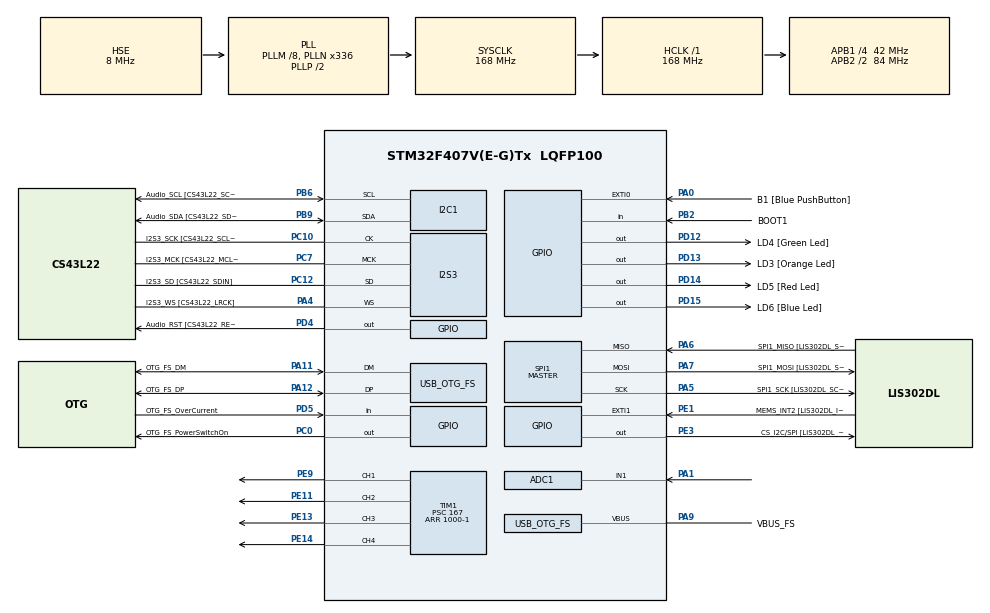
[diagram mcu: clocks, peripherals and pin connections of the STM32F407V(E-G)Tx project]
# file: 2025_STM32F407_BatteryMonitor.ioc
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ADC1.Channel-0\#ChannelRegularConversion=ADC_CHANNEL_1
ADC1.ContinuousConvMode=ENABLE
ADC1.NbrOfConversionFlag=1
ADC1.Rank-0\#ChannelRegularConversion=1
ADC1.SamplingTime-0\#ChannelRegularConversion=ADC_SAMPLETIME_480CYCLES
ADC1.master=1
I2S3.AudioFreq-Half_Duplex_Master=I2S_AUDIOFREQ_96K
I2S3.ErrorAudioFreq=-2.34 %
I2S3.ErrorAudioFreq-Half_Duplex_Master=0.8 %
I2S3.FullDuplexMode=I2S_FULLDUPLEXMODE_DISABLE
I2S3.Instance=SPI$Index
I2S3.RealAudioFreq=93.75 KHz
I2S3.RealAudioFreq-Half_Duplex_Master=96.774 KHz
I2S3.VirtualMode=I2S_MODE_MASTER
Mcu.Family=STM32F4
Mcu.Name=STM32F407V(E-G)Tx
Mcu.Package=LQFP100
NVIC.ADC_IRQn=true\:0\:0\:false\:false\:true\:true\:true\:true
NVIC.OTG_FS_IRQn=true\:0\:0\:false\:false\:true\:true\:true\:true
NVIC.PriorityGroup=NVIC_PRIORITYGROUP_0
PA0-WKUP.GPIO_Label=B1 [Blue PushButton]
PA0-WKUP.GPIO_ModeDefaultEXTI=GPIO_MODE_EVT_RISING
PA0-WKUP.GPIO_PuPd=GPIO_NOPULL
PA0-WKUP.Signal=GPXTI0
PA1.Signal=ADCx_IN1
PA10.GPIO_Label=OTG_FS_ID
PA10.GPIO_Mode=GPIO_MODE_AF_PP
PA10.GPIO_PuPd=GPIO_NOPULL
PA10.GPIO_Speed=GPIO_SPEED_FREQ_LOW
PA10.Signal=USB_OTG_FS_ID
PA11.GPIO_Label=OTG_FS_DM
PA11.GPIO_Mode=GPIO_MODE_AF_PP
PA11.GPIO_PuPd=GPIO_NOPULL
PA11.GPIO_Speed=GPIO_SPEED_FREQ_LOW
PA11.Mode=Host_Only
PA11.Signal=USB_OTG_FS_DM
PA12.GPIO_Label=OTG_FS_DP
PA12.GPIO_Mode=GPIO_MODE_AF_PP
PA12.GPIO_PuPd=GPIO_NOPULL
PA12.GPIO_Speed=GPIO_SPEED_FREQ_LOW
PA12.Mode=Host_Only
PA12.Signal=USB_OTG_FS_DP
PA13.GPIO_Label=SWDIO
PA13.Mode=Serial_Wire
PA13.Signal=SYS_JTMS-SWDIO
PA14.GPIO_Label=SWCLK
PA14.Mode=Serial_Wire
PA14.Signal=SYS_JTCK-SWCLK
PA4.GPIO_Label=I2S3_WS [CS43L22_LRCK]
PA4.GPIO_Mode=GPIO_MODE_AF_PP
PA4.GPIO_PuPd=GPIO_NOPULL
PA4.GPIO_Speed=GPIO_SPEED_FREQ_LOW
PA4.Mode=Half_Duplex_Master
PA4.Signal=I2S3_WS
PA5.GPIO_Label=SPI1_SCK [LIS302DL_SCL/SPC]
PA5.GPIO_Mode=GPIO_MODE_AF_PP
PA5.GPIO_PuPd=GPIO_NOPULL
PA5.GPIO_Speed=GPIO_SPEED_FREQ_LOW
PA5.Mode=Full_Duplex_Master
PA5.Signal=SPI1_SCK
PA6.GPIO_Label=SPI1_MISO [LIS302DL_SDO]
PA6.GPIO_Mode=GPIO_MODE_AF_PP
PA6.GPIO_PuPd=GPIO_NOPULL
PA6.GPIO_Speed=GPIO_SPEED_FREQ_LOW
PA6.Mode=Full_Duplex_Master
PA6.Signal=SPI1_MISO
PA7.GPIO_Label=SPI1_MOSI [LIS302DL_SDA/SDI/SDO]
PA7.GPIO_Mode=GPIO_MODE_AF_PP
PA7.GPIO_PuPd=GPIO_NOPULL
PA7.GPIO_Speed=GPIO_SPEED_FREQ_LOW
PA7.Mode=Full_Duplex_Master
PA7.Signal=SPI1_MOSI
PA9.GPIO_Label=VBUS_FS
PA9.GPIO_Mode=GPIO_MODE_INPUT
PA9.GPIO_PuPd=GPIO_NOPULL
PA9.Mode=Activate_VBUS
PA9.Signal=USB_OTG_FS_VBUS
PB10.GPIO_Label=CLK_IN [MP45DT02_CLK]
PB10.GPIO_Mode=GPIO_MODE_AF_PP
PB10.GPIO_PuPd=GPIO_NOPULL
PB10.GPIO_Speed=GPIO_SPEED_FREQ_LOW
PB10.Signal=I2S2_CK
PB2.GPIO_Label=BOOT1
PB2.GPIO_Mode=GPIO_MODE_INPUT
PB2.GPIO_PuPd=GPIO_NOPULL
PB2.Signal=GPIO_Input
PB3.GPIO_Label=SWO
PB3.Signal=SYS_JTDO-SWO
PB6.GPIO_Label=Audio_SCL [CS43L22_SCL]
PB6.GPIO_Mode=GPIO_MODE_AF_OD
PB6.GPIO_Pu=GPIO_PULLUP
PB6.GPIO_PuPd=GPIO_NOPULL
PB6.GPIO_Speed=GPIO_SPEED_FREQ_LOW
PB6.Mode=I2C
PB6.Signal=I2C1_SCL
PB9.GPIO_Label=Audio_SDA [CS43L22_SDA]
PB9.GPIO_Mode=GPIO_MODE_AF_OD
PB9.GPIO_Pu=GPIO_PULLUP
PB9.GPIO_PuPd=GPIO_NOPULL
PB9.GPIO_Speed=GPIO_SPEED_FREQ_LOW
PB9.Mode=I2C
PB9.Signal=I2C1_SDA
PC0.GPIO_Label=OTG_FS_PowerSwitchOn
PC0.GPIO_PuPd=GPIO_NOPULL
PC0.GPIO_Speed=GPIO_SPEED_FREQ_LOW
PC0.PinState=GPIO_PIN_SET
PC0.Signal=GPIO_Output
PC10.GPIO_Label=I2S3_SCK [CS43L22_SCLK]
PC10.GPIO_Mode=GPIO_MODE_AF_PP
PC10.GPIO_PuPd=GPIO_NOPULL
PC10.GPIO_Speed=GPIO_SPEED_FREQ_LOW
PC10.Mode=Half_Duplex_Master
PC10.Signal=I2S3_CK
PC12.GPIO_Label=I2S3_SD [CS43L22_SDIN]
PC12.GPIO_Mode=GPIO_MODE_AF_PP
PC12.GPIO_PuPd=GPIO_NOPULL
PC12.GPIO_Speed=GPIO_SPEED_FREQ_LOW
PC12.Mode=Half_Duplex_Master
PC12.Signal=I2S3_SD
PC14-OSC32_IN.GPIO_Label=PC14-OSC32_IN
PC14-OSC32_IN.Mode=LSE-External-Oscillator
PC14-OSC32_IN.Signal=RCC_OSC32_IN
PC15-OSC32_OUT.GPIO_Label=PC15-OSC32_OUT
PC15-OSC32_OUT.Mode=LSE-External-Oscillator
PC15-OSC32_OUT.Signal=RCC_OSC32_OUT
PC3.GPIO_Label=PDM_OUT [MP45DT02_DOUT]
PC3.GPIO_Mode=GPIO_MODE_AF_PP
PC3.GPIO_PuPd=GPIO_NOPULL
PC3.GPIO_Speed=GPIO_SPEED_FREQ_LOW
PC3.Signal=I2S2_SD
PC7.GPIO_Label=I2S3_MCK [CS43L22_MCLK]
PC7.GPIO_Mode=GPIO_MODE_AF_PP
PC7.GPIO_PuPd=GPIO_NOPULL
PC7.GPIO_Speed=GPIO_SPEED_FREQ_LOW
PC7.Mode=Master_Clock_Activated
PC7.Signal=I2S3_MCK
PD12.GPIO_Label=LD4 [Green Led]
PD12.GPIO_PuPd=GPIO_NOPULL
PD12.GPIO_Speed=GPIO_SPEED_FREQ_LOW
PD12.Signal=GPIO_Output
PD13.GPIO_Label=LD3 [Orange Led]
PD13.GPIO_PuPd=GPIO_NOPULL
PD13.GPIO_Speed=GPIO_SPEED_FREQ_LOW
PD13.Signal=GPIO_Output
PD14.GPIO_Label=LD5 [Red Led]
PD14.GPIO_PuPd=GPIO_NOPULL
PD14.GPIO_Speed=GPIO_SPEED_FREQ_LOW
PD14.Signal=GPIO_Output
PD15.GPIO_Label=LD6 [Blue Led]
PD15.GPIO_PuPd=GPIO_NOPULL
PD15.GPIO_Speed=GPIO_SPEED_FREQ_LOW
PD15.Signal=GPIO_Output
PD4.GPIO_Label=Audio_RST [CS43L22_RESET]
PD4.GPIO_PuPd=GPIO_NOPULL
PD4.GPIO_Speed=GPIO_SPEED_FREQ_LOW
PD4.Signal=GPIO_Output
PD5.GPIO_Label=OTG_FS_OverCurrent
PD5.GPIO_Mode=GPIO_MODE_INPUT
PD5.GPIO_PuPd=GPIO_NOPULL
PD5.Signal=GPIO_Input
PE1.GPIO_Label=MEMS_INT2 [LIS302DL_INT2]
PE1.GPIO_ModeDefaultEXTI=GPIO_MODE_EVT_RISING
PE1.GPIO_PuPd=GPIO_NOPULL
PE1.Signal=GPXTI1
PE11.Signal=S_TIM1_CH2
PE13.Signal=S_TIM1_CH3
PE14.Signal=S_TIM1_CH4
PE3.GPIO_Label=CS_I2C/SPI [LIS302DL_CS_I2C/SPI]
PE3.GPIO_PuPd=GPIO_NOPULL
PE3.GPIO_Speed=GPIO_SPEED_FREQ_LOW
PE3.Signal=GPIO_Output
PE9.Signal=S_TIM1_CH1
PH0-OSC_IN.GPIO_Label=PH0-OSC_IN
PH0-OSC_IN.Mode=HSE-External-Oscillator
PH0-OSC_IN.Signal=RCC_OSC_IN
PH1-OSC_OUT.GPIO_Label=PH1-OSC_OUT
PH1-OSC_OUT.Mode=HSE-External-Oscillator
PH1-OSC_OUT.Signal=RCC_OSC_OUT
ProjectManager.HeapSize=0x200
ProjectManager.StackSize=0x400
ProjectManager.TargetToolchain=STM32CubeIDE
RCC.48MHZClocksFreq_Value=48000000
RCC.AHBFreq_Value=168000000
RCC.APB1CLKDivider=RCC_HCLK_DIV4
RCC.APB1Freq_Value=42000000
RCC.APB1TimFreq_Value=84000000
RCC.APB2CLKDivider=RCC_HCLK_DIV2
RCC.APB2Freq_Value=84000000
RCC.APB2TimFreq_Value=168000000
RCC.CortexFreq_Value=168000000
RCC.HCLKFreq_Value=168000000
RCC.HSE_VALUE=8000000
RCC.HSI_VALUE=16000000
RCC.PLLM=8
RCC.PLLN=336
RCC.PLLQ=7
RCC.SYSCLKFreq_VALUE=168000000
RCC.SYSCLKSource=RCC_SYSCLKSOURCE_PLLCLK
RCC.VCOOutputFreq_Value=336000000
SH.ADCx_IN1.0=ADC1_IN1,IN1
SH.S_TIM1_CH1.0=TIM1_CH1,PWM Generation1 CH1
SH.S_TIM1_CH2.0=TIM1_CH2,PWM Generation2 CH2
SH.S_TIM1_CH3.0=TIM1_CH3,PWM Generation3 CH3
SH.S_TIM1_CH4.0=TIM1_CH4,PWM Generation4 CH4
SPI1.BaudRatePrescaler-Full_Duplex_Master=SPI_BAUDRATEPRESCALER_2
SPI1.CalculateBaudRate-Full_Duplex_Master=42.0 MBits/s
SPI1.Direction=SPI_DIRECTION_2LINES
SPI1.Mode=SPI_MODE_MASTER
SPI1.Mode-Full_Duplex_Master=SPI_MODE_MASTER
SPI1.VirtualType=VM_MASTER
TIM1.Channel-PWM\ Generation1\ CH1=TIM_CHANNEL_1
TIM1.Channel-PWM\ Generation2\ CH2=TIM_CHANNEL_2
TIM1.Channel-PWM\ Generation3\ CH3=TIM_CHANNEL_3
TIM1.Channel-PWM\ Generation4\ CH4=TIM_CHANNEL_4
TIM1.Period=1000-1
TIM1.Prescaler=167
USB_HOST.BSP.number=1
USB_HOST.USBH_HandleTypeDef-CDC_FS=hUsbHostFS
USB_HOST.VirtualModeFS=Cdc
USB_HOST0.BSP.STBoard=false
USB_HOST0.BSP.api=Unknown
USB_HOST0.BSP.instance=PC0
USB_HOST0.BSP.ip=GPIO
USB_HOST0.BSP.mode=Output
USB_HOST0.BSP.name=Drive_VBUS_FS
USB_HOST0.BSP.solution=PC0
USB_OTG_FS.VirtualMode=Host_Only
USB_OTG_FS.phy_itface=HCD_PHY_EMBEDDED
VP_USB_HOST_VS_USB_HOST_CDC_FS.Mode=CDC_FS
board=STM32F407G-DISC1

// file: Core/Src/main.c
/* USER CODE BEGIN Header */
/**
  ******************************************************************************
  * @file           : main.c
  * @brief          : Main program body
  ******************************************************************************
  * @attention
  *
  * Copyright (c) 2025 STMicroelectronics.
  * All rights reserved.
  *
  * This software is licensed under terms that can be found in the LICENSE file
  * in the root directory of this software component.
  * If no LICENSE file comes with this software, it is provided AS-IS.
  *
  ******************************************************************************
  */
/* USER CODE END Header */
#include "main.h"
#include "usb_host.h"

/* USER CODE BEGIN PD */

#define MOTOR_ON_THRESH 2172 //ADC value for on
#define MOTOR_OFF_THRESH 2016 //ADC value for off

/* USER CODE END PD */

ADC_HandleTypeDef hadc1;

I2C_HandleTypeDef hi2c1;

I2S_HandleTypeDef hi2s3;

SPI_HandleTypeDef hspi1;

TIM_HandleTypeDef htim1;

/* USER CODE BEGIN PV */

uint16_t gADC_Value = 0;
volatile uint8_t buttonCount = 1;

/* USER CODE END PV */

void SystemClock_Config(void);
static void MX_GPIO_Init(void);
static void MX_I2C1_Init(void);
static void MX_I2S3_Init(void);
static void MX_SPI1_Init(void);
static void MX_ADC1_Init(void);
static void MX_TIM1_Init(void);
void MX_USB_HOST_Process(void);

int main(void)
{

  /* MCU Configuration--------------------------------------------------------*/

  /* Reset of all peripherals, Initializes the Flash interface and the Systick. */
  HAL_Init();

  /* Configure the system clock */
  SystemClock_Config();

  /* Initialize all configured peripherals */
  MX_GPIO_Init();
  MX_I2C1_Init();
  MX_I2S3_Init();
  MX_SPI1_Init();
  MX_USB_HOST_Init();
  MX_ADC1_Init();
  MX_TIM1_Init();
  /* USER CODE BEGIN 2 */
  //start interrupt for the ADC
  HAL_ADC_Start_IT(&hadc1);

  //Start PWM generation on timers
  HAL_TIM_PWM_Start(&htim1, TIM_CHANNEL_1); //AN1
  HAL_TIM_PWM_Start(&htim1, TIM_CHANNEL_2); //AN2
  HAL_TIM_PWM_Start(&htim1, TIM_CHANNEL_3); //BN1
  HAL_TIM_PWM_Start(&htim1, TIM_CHANNEL_4); //BN2

  /* USER CODE END 2 */

  /* Infinite loop */
  /* USER CODE BEGIN WHILE */
  while (1)
  {
	  if (gADC_Value > MOTOR_ON_THRESH){
		  //motor on
		  switch(buttonCount){
		  case 1: // motors stopped
			  setPWM(0);
		  case 2: //motors rotate CCW
			  setPWM(1);
		  case 3: //motors rotate CW
			  setPWM(-1);
		  }
	  }
	  else if(gADC_Value < MOTOR_OFF_THRESH){
		  // motor off
		  set_PWM(0);
	  }
	  else{
		  //random spinning with no response to button
		  set_PWM(1);
	  }
    /* USER CODE END WHILE */
    MX_USB_HOST_Process();

  }
}

void SystemClock_Config(void)
{
  RCC_OscInitTypeDef RCC_OscInitStruct = {0};
  RCC_ClkInitTypeDef RCC_ClkInitStruct = {0};

  /** Configure the main internal regulator output voltage
  */
  __HAL_RCC_PWR_CLK_ENABLE();
  __HAL_PWR_VOLTAGESCALING_CONFIG(PWR_REGULATOR_VOLTAGE_SCALE1);

  /** Initializes the RCC Oscillators according to the specified parameters
  * in the RCC_OscInitTypeDef structure.
  */
  RCC_OscInitStruct.OscillatorType = RCC_OSCILLATORTYPE_HSE;
  RCC_OscInitStruct.HSEState = RCC_HSE_ON;
  RCC_OscInitStruct.PLL.PLLState = RCC_PLL_ON;
  RCC_OscInitStruct.PLL.PLLSource = RCC_PLLSOURCE_HSE;
  RCC_OscInitStruct.PLL.PLLM = 8;
  RCC_OscInitStruct.PLL.PLLN = 336;
  RCC_OscInitStruct.PLL.PLLP = RCC_PLLP_DIV2;
  RCC_OscInitStruct.PLL.PLLQ = 7;
  if (HAL_RCC_OscConfig(&RCC_OscInitStruct) != HAL_OK)
  {
    Error_Handler();
  }

  /** Initializes the CPU, AHB and APB buses clocks
  */
  RCC_ClkInitStruct.ClockType = RCC_CLOCKTYPE_HCLK|RCC_CLOCKTYPE_SYSCLK
                              |RCC_CLOCKTYPE_PCLK1|RCC_CLOCKTYPE_PCLK2;
  RCC_ClkInitStruct.SYSCLKSource = RCC_SYSCLKSOURCE_PLLCLK;
  RCC_ClkInitStruct.AHBCLKDivider = RCC_SYSCLK_DIV1;
  RCC_ClkInitStruct.APB1CLKDivider = RCC_HCLK_DIV4;
  RCC_ClkInitStruct.APB2CLKDivider = RCC_HCLK_DIV2;

  if (HAL_RCC_ClockConfig(&RCC_ClkInitStruct, FLASH_LATENCY_5) != HAL_OK)
  {
    Error_Handler();
  }
}

static void MX_ADC1_Init(void)
{

  ADC_ChannelConfTypeDef sConfig = {0};

  /** Configure the global features of the ADC (Clock, Resolution, Data Alignment and number of conversion)
  */
  hadc1.Instance = ADC1;
  hadc1.Init.ClockPrescaler = ADC_CLOCK_SYNC_PCLK_DIV4;
  hadc1.Init.Resolution = ADC_RESOLUTION_12B;
  hadc1.Init.ScanConvMode = DISABLE;
  hadc1.Init.ContinuousConvMode = ENABLE;
  hadc1.Init.DiscontinuousConvMode = DISABLE;
  hadc1.Init.ExternalTrigConvEdge = ADC_EXTERNALTRIGCONVEDGE_NONE;
  hadc1.Init.ExternalTrigConv = ADC_SOFTWARE_START;
  hadc1.Init.DataAlign = ADC_DATAALIGN_RIGHT;
  hadc1.Init.NbrOfConversion = 1;
  hadc1.Init.DMAContinuousRequests = DISABLE;
  hadc1.Init.EOCSelection = ADC_EOC_SINGLE_CONV;
  if (HAL_ADC_Init(&hadc1) != HAL_OK)
  {
    Error_Handler();
  }

  /** Configure for the selected ADC regular channel its corresponding rank in the sequencer and its sample time.
  */
  sConfig.Channel = ADC_CHANNEL_1;
  sConfig.Rank = 1;
  sConfig.SamplingTime = ADC_SAMPLETIME_480CYCLES;
  if (HAL_ADC_ConfigChannel(&hadc1, &sConfig) != HAL_OK)
  {
    Error_Handler();
  }

}

static void MX_I2C1_Init(void)
{

  hi2c1.Instance = I2C1;
  hi2c1.Init.ClockSpeed = 100000;
  hi2c1.Init.DutyCycle = I2C_DUTYCYCLE_2;
  hi2c1.Init.OwnAddress1 = 0;
  hi2c1.Init.AddressingMode = I2C_ADDRESSINGMODE_7BIT;
  hi2c1.Init.DualAddressMode = I2C_DUALADDRESS_DISABLE;
  hi2c1.Init.OwnAddress2 = 0;
  hi2c1.Init.GeneralCallMode = I2C_GENERALCALL_DISABLE;
  hi2c1.Init.NoStretchMode = I2C_NOSTRETCH_DISABLE;
  if (HAL_I2C_Init(&hi2c1) != HAL_OK)
  {
    Error_Handler();
  }

}

static void MX_I2S3_Init(void)
{

  hi2s3.Instance = SPI3;
  hi2s3.Init.Mode = I2S_MODE_MASTER_TX;
  hi2s3.Init.Standard = I2S_STANDARD_PHILIPS;
  hi2s3.Init.DataFormat = I2S_DATAFORMAT_16B;
  hi2s3.Init.MCLKOutput = I2S_MCLKOUTPUT_ENABLE;
  hi2s3.Init.AudioFreq = I2S_AUDIOFREQ_96K;
  hi2s3.Init.CPOL = I2S_CPOL_LOW;
  hi2s3.Init.ClockSource = I2S_CLOCK_PLL;
  hi2s3.Init.FullDuplexMode = I2S_FULLDUPLEXMODE_DISABLE;
  if (HAL_I2S_Init(&hi2s3) != HAL_OK)
  {
    Error_Handler();
  }

}

static void MX_SPI1_Init(void)
{

  /* SPI1 parameter configuration*/
  hspi1.Instance = SPI1;
  hspi1.Init.Mode = SPI_MODE_MASTER;
  hspi1.Init.Direction = SPI_DIRECTION_2LINES;
  hspi1.Init.DataSize = SPI_DATASIZE_8BIT;
  hspi1.Init.CLKPolarity = SPI_POLARITY_LOW;
  hspi1.Init.CLKPhase = SPI_PHASE_1EDGE;
  hspi1.Init.NSS = SPI_NSS_SOFT;
  hspi1.Init.BaudRatePrescaler = SPI_BAUDRATEPRESCALER_2;
  hspi1.Init.FirstBit = SPI_FIRSTBIT_MSB;
  hspi1.Init.TIMode = SPI_TIMODE_DISABLE;
  hspi1.Init.CRCCalculation = SPI_CRCCALCULATION_DISABLE;
  hspi1.Init.CRCPolynomial = 10;
  if (HAL_SPI_Init(&hspi1) != HAL_OK)
  {
    Error_Handler();
  }

}

static void MX_TIM1_Init(void)
{

  TIM_MasterConfigTypeDef sMasterConfig = {0};
  TIM_OC_InitTypeDef sConfigOC = {0};
  TIM_BreakDeadTimeConfigTypeDef sBreakDeadTimeConfig = {0};

  htim1.Instance = TIM1;
  htim1.Init.Prescaler = 167;
  htim1.Init.CounterMode = TIM_COUNTERMODE_UP;
  htim1.Init.Period = 1000-1;
  htim1.Init.ClockDivision = TIM_CLOCKDIVISION_DIV1;
  htim1.Init.RepetitionCounter = 0;
  htim1.Init.AutoReloadPreload = TIM_AUTORELOAD_PRELOAD_DISABLE;
  if (HAL_TIM_PWM_Init(&htim1) != HAL_OK)
  {
    Error_Handler();
  }
  sMasterConfig.MasterOutputTrigger = TIM_TRGO_RESET;
  sMasterConfig.MasterSlaveMode = TIM_MASTERSLAVEMODE_DISABLE;
  if (HAL_TIMEx_MasterConfigSynchronization(&htim1, &sMasterConfig) != HAL_OK)
  {
    Error_Handler();
  }
  sConfigOC.OCMode = TIM_OCMODE_PWM1;
  sConfigOC.Pulse = 0;
  sConfigOC.OCPolarity = TIM_OCPOLARITY_HIGH;
  sConfigOC.OCNPolarity = TIM_OCNPOLARITY_HIGH;
  sConfigOC.OCFastMode = TIM_OCFAST_DISABLE;
  sConfigOC.OCIdleState = TIM_OCIDLESTATE_RESET;
  sConfigOC.OCNIdleState = TIM_OCNIDLESTATE_RESET;
  if (HAL_TIM_PWM_ConfigChannel(&htim1, &sConfigOC, TIM_CHANNEL_1) != HAL_OK)
  {
    Error_Handler();
  }
  if (HAL_TIM_PWM_ConfigChannel(&htim1, &sConfigOC, TIM_CHANNEL_2) != HAL_OK)
  {
    Error_Handler();
  }
  if (HAL_TIM_PWM_ConfigChannel(&htim1, &sConfigOC, TIM_CHANNEL_3) != HAL_OK)
  {
    Error_Handler();
  }
  if (HAL_TIM_PWM_ConfigChannel(&htim1, &sConfigOC, TIM_CHANNEL_4) != HAL_OK)
  {
    Error_Handler();
  }
  sBreakDeadTimeConfig.OffStateRunMode = TIM_OSSR_DISABLE;
  sBreakDeadTimeConfig.OffStateIDLEMode = TIM_OSSI_DISABLE;
  sBreakDeadTimeConfig.LockLevel = TIM_LOCKLEVEL_OFF;
  sBreakDeadTimeConfig.DeadTime = 0;
  sBreakDeadTimeConfig.BreakState = TIM_BREAK_DISABLE;
  sBreakDeadTimeConfig.BreakPolarity = TIM_BREAKPOLARITY_HIGH;
  sBreakDeadTimeConfig.AutomaticOutput = TIM_AUTOMATICOUTPUT_DISABLE;
  if (HAL_TIMEx_ConfigBreakDeadTime(&htim1, &sBreakDeadTimeConfig) != HAL_OK)
  {
    Error_Handler();
  }
  HAL_TIM_MspPostInit(&htim1);

}

static void MX_GPIO_Init(void)
{
  GPIO_InitTypeDef GPIO_InitStruct = {0};

  /* GPIO Ports Clock Enable */
  __HAL_RCC_GPIOE_CLK_ENABLE();
  __HAL_RCC_GPIOC_CLK_ENABLE();
  __HAL_RCC_GPIOH_CLK_ENABLE();
  __HAL_RCC_GPIOA_CLK_ENABLE();
  __HAL_RCC_GPIOB_CLK_ENABLE();
  __HAL_RCC_GPIOD_CLK_ENABLE();

  /*Configure GPIO pin Output Level */
  HAL_GPIO_WritePin(CS_I2C_SPI_GPIO_Port, CS_I2C_SPI_Pin, GPIO_PIN_RESET);

  /*Configure GPIO pin Output Level */
  HAL_GPIO_WritePin(OTG_FS_PowerSwitchOn_GPIO_Port, OTG_FS_PowerSwitchOn_Pin, GPIO_PIN_SET);

  /*Configure GPIO pin Output Level */
  HAL_GPIO_WritePin(GPIOD, LD4_Pin|LD3_Pin|LD5_Pin|LD6_Pin
                          |Audio_RST_Pin, GPIO_PIN_RESET);

  /*Configure GPIO pin : CS_I2C_SPI_Pin */
  GPIO_InitStruct.Pin = CS_I2C_SPI_Pin;
  GPIO_InitStruct.Mode = GPIO_MODE_OUTPUT_PP;
  GPIO_InitStruct.Pull = GPIO_NOPULL;
  GPIO_InitStruct.Speed = GPIO_SPEED_FREQ_LOW;
  HAL_GPIO_Init(CS_I2C_SPI_GPIO_Port, &GPIO_InitStruct);

  /*Configure GPIO pin : OTG_FS_PowerSwitchOn_Pin */
  GPIO_InitStruct.Pin = OTG_FS_PowerSwitchOn_Pin;
  GPIO_InitStruct.Mode = GPIO_MODE_OUTPUT_PP;
  GPIO_InitStruct.Pull = GPIO_NOPULL;
  GPIO_InitStruct.Speed = GPIO_SPEED_FREQ_LOW;
  HAL_GPIO_Init(OTG_FS_PowerSwitchOn_GPIO_Port, &GPIO_InitStruct);

  /*Configure GPIO pin : PDM_OUT_Pin */
  GPIO_InitStruct.Pin = PDM_OUT_Pin;
  GPIO_InitStruct.Mode = GPIO_MODE_AF_PP;
  GPIO_InitStruct.Pull = GPIO_NOPULL;
  GPIO_InitStruct.Speed = GPIO_SPEED_FREQ_LOW;
  GPIO_InitStruct.Alternate = GPIO_AF5_SPI2;
  HAL_GPIO_Init(PDM_OUT_GPIO_Port, &GPIO_InitStruct);

  /*Configure GPIO pin : B1_Pin */
  GPIO_InitStruct.Pin = B1_Pin;
  GPIO_InitStruct.Mode = GPIO_MODE_EVT_RISING;
  GPIO_InitStruct.Pull = GPIO_NOPULL;
  HAL_GPIO_Init(B1_GPIO_Port, &GPIO_InitStruct);

  /*Configure GPIO pin : BOOT1_Pin */
  GPIO_InitStruct.Pin = BOOT1_Pin;
  GPIO_InitStruct.Mode = GPIO_MODE_INPUT;
  GPIO_InitStruct.Pull = GPIO_NOPULL;
  HAL_GPIO_Init(BOOT1_GPIO_Port, &GPIO_InitStruct);

  /*Configure GPIO pin : CLK_IN_Pin */
  GPIO_InitStruct.Pin = CLK_IN_Pin;
  GPIO_InitStruct.Mode = GPIO_MODE_AF_PP;
  GPIO_InitStruct.Pull = GPIO_NOPULL;
  GPIO_InitStruct.Speed = GPIO_SPEED_FREQ_LOW;
  GPIO_InitStruct.Alternate = GPIO_AF5_SPI2;
  HAL_GPIO_Init(CLK_IN_GPIO_Port, &GPIO_InitStruct);

  /*Configure GPIO pins : LD4_Pin LD3_Pin LD5_Pin LD6_Pin
                           Audio_RST_Pin */
  GPIO_InitStruct.Pin = LD4_Pin|LD3_Pin|LD5_Pin|LD6_Pin
                          |Audio_RST_Pin;
  GPIO_InitStruct.Mode = GPIO_MODE_OUTPUT_PP;
  GPIO_InitStruct.Pull = GPIO_NOPULL;
  GPIO_InitStruct.Speed = GPIO_SPEED_FREQ_LOW;
  HAL_GPIO_Init(GPIOD, &GPIO_InitStruct);

  /*Configure GPIO pin : OTG_FS_OverCurrent_Pin */
  GPIO_InitStruct.Pin = OTG_FS_OverCurrent_Pin;
  GPIO_InitStruct.Mode = GPIO_MODE_INPUT;
  GPIO_InitStruct.Pull = GPIO_NOPULL;
  HAL_GPIO_Init(OTG_FS_OverCurrent_GPIO_Port, &GPIO_InitStruct);

  /*Configure GPIO pin : MEMS_INT2_Pin */
  GPIO_InitStruct.Pin = MEMS_INT2_Pin;
  GPIO_InitStruct.Mode = GPIO_MODE_EVT_RISING;
  GPIO_InitStruct.Pull = GPIO_NOPULL;
  HAL_GPIO_Init(MEMS_INT2_GPIO_Port, &GPIO_InitStruct);

}

/* USER CODE BEGIN 4 */

void HAL_ADC_ConvCpltCallback(ADC_HandleTypeDef *hadc){
	gADC_Value = HAL_ADC_GetValue(hadc);
}

void HAL_GPIO_EXTI_Callback(uint16_t GPIO_Pin){
	if (HAL_GPIO_ReadPin(GPIOA,GPIO_Pin_0)){
		buttonCount++;
		if(buttonCount == 4){
			buttonCount = 1;
		}
	}
}

void set_PWM(int PWM){
	//normalize the values between 0 and 100
	if (pwm > 100){
		pwm = 100;
	}
	if (pmw < 0){
		pwm = -100;
	}

	if(pwm > 0){ //Counter Clockwise rotation condition
		__HAL_TIM_SET_COMPARE(&htim1, TIM_CHANNEL_1, 100); //Initialize A
		__HAL_TIM_SET_COMPARE(&htim1, TIM_CHANNEL_2, 100-pwm); //send PWM to A
		__HAL_TIM_SET_COMPARE(&htim1, TIM_CHANNEL_3, 100); //Initialize B
		__HAL_TIM_SET_COMPARE(&htim1, TIM_CHANNEL_4, 100-pwm); //send PWM to B
	}
	else if (pwm <0) { //Clockwise rotation condition
		__HAL_TIM_SET_COMPARE(&htim1, TIM_CHANNEL_1, 100); //Initialize A
		__HAL_TIM_SET_COMPARE(&htim1, TIM_CHANNEL_2, 100+pwm); //send PWM to A
		__HAL_TIM_SET_COMPARE(&htim1, TIM_CHANNEL_3, 100); //Initialize B
		__HAL_TIM_SET_COMPARE(&htim1, TIM_CHANNEL_4, 100+pwm); //send PWM to B
	}
	else { //Turn off the motors (0)
		__HAL_TIM_SET_COMPARE(&htim1, TIM_CHANNEL_1, 0); //set everything to 0
		__HAL_TIM_SET_COMPARE(&htim1, TIM_CHANNEL_2, 0);
		__HAL_TIM_SET_COMPARE(&htim1, TIM_CHANNEL_3, 0);
		__HAL_TIM_SET_COMPARE(&htim1, TIM_CHANNEL_4, 0);
	}

}
/* USER CODE END 4 */

void Error_Handler(void)
{
  __disable_irq();
  while (1)
  {
  }
}
